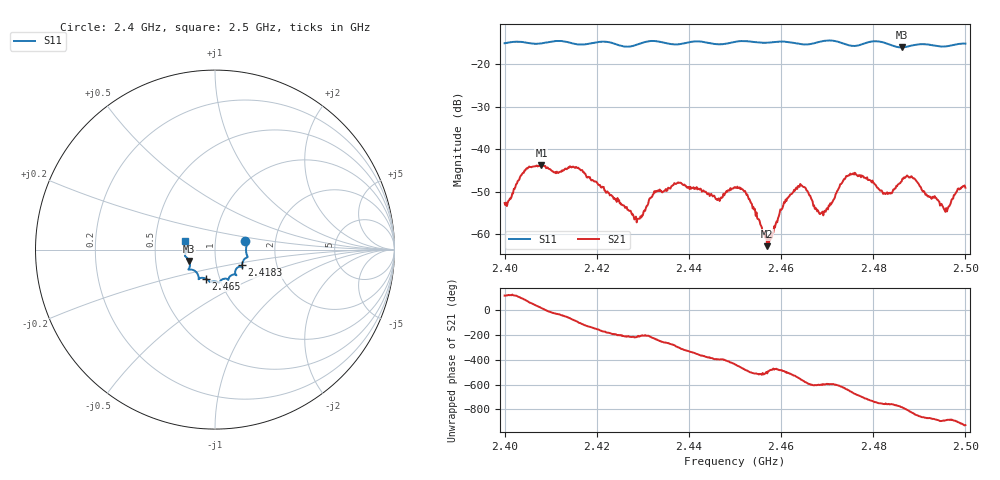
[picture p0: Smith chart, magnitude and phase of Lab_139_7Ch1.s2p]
# Hz S RI R 50
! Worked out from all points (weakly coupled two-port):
!   601 points, 2.4 GHz to 2.5 GHz, reference 50 ohm
!   highest |S21| = -43.82 dB at 2.408 GHz (marker M1); lowest = -62.8 dB at 2.457 GHz (marker M2)
!   lowest |S11| = -16.1 dB at 2.4862 GHz (marker M3), VSWR 1.37, Z = 37.2 - j4.79 ohm
!   |S11| at or under -10 dB: start of sweep to end of sweep
!   S12 and S22 are empty: the file has one direction only
!   S11 on the Smith chart (normalised r, x): 2.4 GHz: 1.40, +0.13; 2.4183 GHz: 1.33, -0.24; 2.465 GHz: 0.86, -0.28; 2.5 GHz: 0.71, +0.07
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2.4e9  0.1688 0.0467  -0.000887 0.00214  0 0  0 0
2.404833e9  0.1762 0.0209  0.00201 0.0056  0 0  0 0
2.408e9  0.174 -0.016  0.0063 0.00134  0 0  0 0
2.416667e9  0.1546 -0.0678  -0.0022 -0.00521  0 0  0 0
2.418333e9  0.1498 -0.087  -0.00338 -0.00319  0 0  0 0
2.428667e9  0.1122 -0.1255  -0.00104 0.000893  0 0  0 0
2.433333e9  0.1179 -0.1411  -0.00137 0.00296  0 0  0 0
2.438e9  0.0827 -0.1495  0.00244 0.00319  0 0  0 0
2.446333e9  0.0505 -0.1625  0.00208 -0.00157  0 0  0 0
2.45e9  0.0258 -0.1802  0.000675 -0.00351  0 0  0 0
2.452667e9  0.0198 -0.1836  -0.0018 -0.0023  0 0  0 0
2.457e9  -0.00962 -0.1775  -0.000631 -0.000351  0 0  0 0
2.461167e9  -0.0295 -0.1796  -0.00204 -0.00138  0 0  0 0
2.465e9  -0.0525 -0.1613  -0.00297 0.00199  0 0  0 0
2.466667e9  -0.0713 -0.1571  -0.00121 0.00223  0 0  0 0
2.469167e9  -0.0897 -0.163  -0.000892 0.0014  0 0  0 0
2.4755e9  -0.1051 -0.1246  0.00282 0.00423  0 0  0 0
2.483333e9  -0.141 -0.0965  0.00247 -0.00174  0 0  0 0
2.486167e9  -0.1433 -0.0627  0.002 -0.00366  0 0  0 0
2.488667e9  -0.1604 -0.0424  -0.00154 -0.00425  0 0  0 0
2.495667e9  -0.1604 0.0122  -0.00178 -0.000406  0 0  0 0
2.5e9  -0.1668 0.0472  -0.00316 0.00153  0 0  0 0
